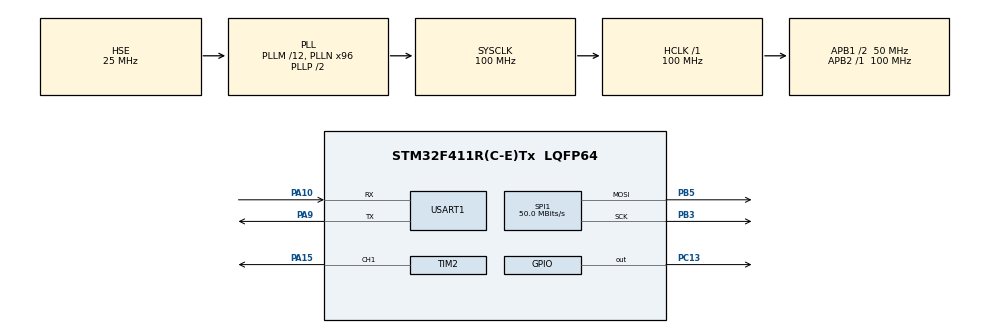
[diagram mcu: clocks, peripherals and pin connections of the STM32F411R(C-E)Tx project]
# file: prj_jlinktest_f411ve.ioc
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Dma.Request0=SPI1_TX
Dma.SPI1_TX.0.Direction=DMA_MEMORY_TO_PERIPH
Dma.SPI1_TX.0.FIFOMode=DMA_FIFOMODE_DISABLE
Dma.SPI1_TX.0.Instance=DMA2_Stream2
Dma.SPI1_TX.0.MemDataAlignment=DMA_MDATAALIGN_BYTE
Dma.SPI1_TX.0.MemInc=DMA_MINC_ENABLE
Dma.SPI1_TX.0.Mode=DMA_NORMAL
Dma.SPI1_TX.0.PeriphDataAlignment=DMA_PDATAALIGN_BYTE
Dma.SPI1_TX.0.PeriphInc=DMA_PINC_DISABLE
Dma.SPI1_TX.0.Priority=DMA_PRIORITY_LOW
FREERTOS.BinarySemaphores01=KeyBinarySem01,Dynamic,NULL,Available;BinarySem01,Dynamic,NULL,Available
FREERTOS.Mutexes01=Mutex01,Dynamic,NULL,Available
FREERTOS.Tasks01=defaultTask,24,128,StartDefaultTask,Default,NULL,Dynamic,NULL,NULL;key_task,9,128,KeyTaskFunc,As weak,NULL,Dynamic,NULL,NULL;Log_Task,9,128,LogTaskFunc,As weak,NULL,Dynamic,NULL,NULL;H_Task,10,128,Task_H_Func,Default,NULL,Dynamic,NULL,NULL;M_Task,9,128,Task_M_Func,Default,NULL,Dynamic,NULL,NULL;L_Task,8,128,Task_L_Func,Default,NULL,Dynamic,NULL,NULL
FREERTOS.Timers01=myTimer01,Callback01,osTimerPeriodic,Default,NULL,Dynamic,NULL
FREERTOS.configUSE_TICK_HOOK=1
Mcu.Family=STM32F4
Mcu.Name=STM32F411R(C-E)Tx
Mcu.Package=LQFP64
NVIC.DMA2_Stream2_IRQn=true\:5\:0\:false\:false\:true\:true\:false\:true\:true
NVIC.PriorityGroup=NVIC_PRIORITYGROUP_4
NVIC.TIM1_TRG_COM_TIM11_IRQn=true\:5\:0\:false\:false\:true\:true\:true\:true\:true
NVIC.TIM1_UP_TIM10_IRQn=true\:15\:0\:false\:false\:true\:false\:false\:true\:true
NVIC.TimeBase=TIM1_UP_TIM10_IRQn
NVIC.TimeBaseIP=TIM1
PA10.Mode=Asynchronous
PA10.Signal=USART1_RX
PA13.Mode=Serial_Wire
PA13.Signal=SYS_JTMS-SWDIO
PA14.Mode=Serial_Wire
PA14.Signal=SYS_JTCK-SWCLK
PA15.Signal=S_TIM2_CH1_ETR
PA9.Mode=Asynchronous
PA9.Signal=USART1_TX
PB3.Mode=TX_Only_Simplex_Unidirect_Master
PB3.Signal=SPI1_SCK
PB5.Mode=TX_Only_Simplex_Unidirect_Master
PB5.Signal=SPI1_MOSI
PC13-ANTI_TAMP.Signal=GPIO_Output
PC14-OSC32_IN.Mode=LSE-External-Oscillator
PC14-OSC32_IN.Signal=RCC_OSC32_IN
PC15-OSC32_OUT.Mode=LSE-External-Oscillator
PC15-OSC32_OUT.Signal=RCC_OSC32_OUT
PH0\ -\ OSC_IN.Mode=HSE-External-Oscillator
PH0\ -\ OSC_IN.Signal=RCC_OSC_IN
PH1\ -\ OSC_OUT.Mode=HSE-External-Oscillator
PH1\ -\ OSC_OUT.Signal=RCC_OSC_OUT
ProjectManager.HeapSize=0x200
ProjectManager.StackSize=0x400
ProjectManager.TargetToolchain=CMake
RCC.48MHZClocksFreq_Value=50000000
RCC.AHBFreq_Value=100000000
RCC.APB1CLKDivider=RCC_HCLK_DIV2
RCC.APB1Freq_Value=50000000
RCC.APB1TimFreq_Value=100000000
RCC.APB2Freq_Value=100000000
RCC.APB2TimFreq_Value=100000000
RCC.CortexFreq_Value=100000000
RCC.HCLKFreq_Value=100000000
RCC.HSE_VALUE=25000000
RCC.HSI_VALUE=16000000
RCC.PLLM=12
RCC.PLLN=96
RCC.PLLSourceVirtual=RCC_PLLSOURCE_HSE
RCC.SYSCLKFreq_VALUE=100000000
RCC.SYSCLKSource=RCC_SYSCLKSOURCE_PLLCLK
RCC.VCOOutputFreq_Value=200000000
SH.S_TIM2_CH1_ETR.0=TIM2_CH1,PWM Generation1 CH1
SPI1.CLKPhase=SPI_PHASE_2EDGE
SPI1.CLKPolarity=SPI_POLARITY_HIGH
SPI1.CalculateBaudRate=50.0 MBits/s
SPI1.Direction=SPI_DIRECTION_2LINES
SPI1.Mode=SPI_MODE_MASTER
SPI1.VirtualType=VM_MASTER
TIM11.Period=1000-1
TIM11.Prescaler=100-1
TIM2.Channel-PWM\ Generation1\ CH1=TIM_CHANNEL_1
TIM2.Period=300
TIM2.Prescaler=100-1
USART1.VirtualMode=VM_ASYNC
VP_FREERTOS_VS_CMSIS_V2.Mode=CMSIS_V2
VP_SYS_VS_tim1.Mode=TIM1
VP_TIM11_VS_ClockSourceINT.Mode=Enable_Timer
board=custom

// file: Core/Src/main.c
/* USER CODE BEGIN Header */
/**
  ******************************************************************************
  * @file           : main.c
  * @brief          : Main program body
  ******************************************************************************
  * @attention
  *
  * Copyright (c) 2026 STMicroelectronics.
  * All rights reserved.
  *
  * This software is licensed under terms that can be found in the LICENSE file
  * in the root directory of this software component.
  * If no LICENSE file comes with this software, it is provided AS-IS.
  *
  ******************************************************************************
  */
/* USER CODE END Header */
#include "main.h"
#include "cmsis_os.h"
#include "dma.h"
#include "spi.h"
#include "tim.h"
#include "usart.h"
#include "gpio.h"

void SystemClock_Config(void);
void MX_FREERTOS_Init(void);

/* USER CODE BEGIN 0 */
#include "stdio.h"
#include "test.h"
#include "delay.h"

// ===================== 按键驱动相关头文件 =======================
#include "key.h"

// ===================== LCD驱动相关头文件 =======================
#include "lcd_init.h"
#include "lcd.h"
#include "cst816.h"

// ===================== LVGL驱动相关头文件 =======================
// #include "lvgl.h"
// #include "lv_port_disp.h"
// #include "lv_port_indev.h"

// ===================== 自定义图形驱动相关头文件 =======================
// #include "gui_guider.h"           // Gui Guider 生成的界面和控件的声明
// #include "events_init.h"          // Gui Guider 生成的初始化事件、回调函数
// lv_ui  guider_ui;                     // 声明 界面对象

void LCD_ColorCycleDemo(void);

/* USER CODE END 0 */

int main(void)
{

  /* MCU Configuration--------------------------------------------------------*/

  /* Reset of all peripherals, Initializes the Flash interface and the Systick. */
  HAL_Init();

  /* Configure the system clock */
  SystemClock_Config();

  /* Initialize all configured peripherals */
  MX_GPIO_Init();
  MX_DMA_Init();
  MX_USART1_UART_Init();
  MX_SPI1_Init();
  MX_TIM2_Init();
  MX_TIM11_Init();
  /* USER CODE BEGIN 2 */
  // ===================== 按键 初始化 =======================
  Key_Port_Init();
  // ===================== LCD屏幕 初始化 =======================
  delay_init();
  LCD_Init();
  LCD_Set_Light(100); // 亮度拉到最满
  LCD_Open_Light();   // 启动背光 PWM

  CST816_Init();    //触摸屏

  // ===================== LVGL 初始化 =======================

  // lv_init();          // LVGL 初始化
  // lv_port_disp_init(); // LVGL 显示驱动初始化
  // lv_port_indev_init(); // LVGL 输入设备驱动初始化
  // HAL_TIM_Base_Start_IT(&htim11); // 启动 LVGL 定时器中断

  // ===================== 自定义图形 初始化 =======================
  // setup_ui(&guider_ui); // Gui Guider 生成的界面和控件的初始化
  // events_init(&guider_ui); // Gui Guider 生成的事件、回调函数的初始化
  /* USER CODE END 2 */

  /* Init scheduler */
  osKernelInitialize();  /* Call init function for freertos objects (in cmsis_os2.c) */
  MX_FREERTOS_Init();

  /* Start scheduler */
  osKernelStart();

  /* We should never get here as control is now taken by the scheduler */

  /* Infinite loop */
  /* USER CODE BEGIN WHILE */
  while (1)
  {
    //LCD_ColorCycleDemo();
    // ===================== 图形化 任务 =======================
    // HAL_Delay(1-1);

    // static uint8_t msLVGL = 0;
    // if(msLVGL++ >= 5) { // 每 5ms 调用一次 lv_task_handler，处理 LVGL 的任务
    //     msLVGL = 0;
    //     lv_task_handler();
    // }
    // ===================== 图形化 任务 =======================
    /* USER CODE END WHILE */

  }
}

void SystemClock_Config(void)
{
  RCC_OscInitTypeDef RCC_OscInitStruct = {0};
  RCC_ClkInitTypeDef RCC_ClkInitStruct = {0};

  /** Configure the main internal regulator output voltage
  */
  __HAL_RCC_PWR_CLK_ENABLE();
  __HAL_PWR_VOLTAGESCALING_CONFIG(PWR_REGULATOR_VOLTAGE_SCALE1);

  /** Initializes the RCC Oscillators according to the specified parameters
  * in the RCC_OscInitTypeDef structure.
  */
  RCC_OscInitStruct.OscillatorType = RCC_OSCILLATORTYPE_HSE;
  RCC_OscInitStruct.HSEState = RCC_HSE_ON;
  RCC_OscInitStruct.PLL.PLLState = RCC_PLL_ON;
  RCC_OscInitStruct.PLL.PLLSource = RCC_PLLSOURCE_HSE;
  RCC_OscInitStruct.PLL.PLLM = 12;
  RCC_OscInitStruct.PLL.PLLN = 96;
  RCC_OscInitStruct.PLL.PLLP = RCC_PLLP_DIV2;
  RCC_OscInitStruct.PLL.PLLQ = 4;
  if (HAL_RCC_OscConfig(&RCC_OscInitStruct) != HAL_OK)
  {
    Error_Handler();
  }

  /** Initializes the CPU, AHB and APB buses clocks
  */
  RCC_ClkInitStruct.ClockType = RCC_CLOCKTYPE_HCLK|RCC_CLOCKTYPE_SYSCLK
                              |RCC_CLOCKTYPE_PCLK1|RCC_CLOCKTYPE_PCLK2;
  RCC_ClkInitStruct.SYSCLKSource = RCC_SYSCLKSOURCE_PLLCLK;
  RCC_ClkInitStruct.AHBCLKDivider = RCC_SYSCLK_DIV1;
  RCC_ClkInitStruct.APB1CLKDivider = RCC_HCLK_DIV2;
  RCC_ClkInitStruct.APB2CLKDivider = RCC_HCLK_DIV1;

  if (HAL_RCC_ClockConfig(&RCC_ClkInitStruct, FLASH_LATENCY_3) != HAL_OK)
  {
    Error_Handler();
  }
}

/* USER CODE BEGIN 4 */

#ifdef __GNUC__
#define PUTCHAR_PROTOTYPE int __io_putchar(int ch)
#else
#define PUTCHAR_PROTOTYPE int fputc(int ch, FILE *f)
#endif

PUTCHAR_PROTOTYPE
{
	//HAL_UART_Transmit(&huart1,(uint8_t*)&ch,1,1000);

	while((huart1.Instance->SR & USART_SR_TXE) ==0);
	huart1.Instance->DR = *(uint8_t*)&ch;
	return ch;
}

// 简单纯色区域填充（使用 LCD_Color_Fill）
static void LCD_ColorFillSolid(uint16_t xsta, uint16_t ysta, uint16_t xend, uint16_t yend, uint16_t color)
{
    static uint16_t line_buf[LCD_W];
    uint16_t width = xend - xsta + 1;

    for (uint16_t i = 0; i < width; i++)
    {
        line_buf[i] = color;
    }

    for (uint16_t row = ysta; row <= yend; row++)
    {
        LCD_Color_Fill(xsta, row, xend, row, line_buf);
        while (hspi1.State != HAL_SPI_STATE_READY)
        {
        }
    }

}

// 简单颜色切换演示
void LCD_ColorCycleDemo(void)
{
    const uint16_t colors[] = {RED, GREEN, BLUE, YELLOW, CYAN, MAGENTA, WHITE, BLACK};
    const char *names[] = {"RED", "GREEN", "BLUE", "YELLOW", "CYAN", "MAGENTA", "WHITE", "BLACK"};

    for (int i = 0; i < 8; i++)
    {
        uint16_t bg = colors[i];
        uint16_t fc = (bg == BLACK) ? WHITE : BLACK; // 黑底白字，其它底黑字
        LCD_ColorFillSolid(0, 0, LCD_W - 1, LCD_H - 1, bg);

        LCD_ShowString(60, 100, (uint8_t *)names[i], fc, bg, 24, 0);
        HAL_Delay(800);

    }
}

uint16_t time_tick = 0;
/* USER CODE END 4 */

void HAL_TIM_PeriodElapsedCallback(TIM_HandleTypeDef *htim)
{
  if (htim->Instance == TIM1)
  {
    HAL_IncTick();
  }
}

void Error_Handler(void)
{
  __disable_irq();
  while (1)
  {
  }
}

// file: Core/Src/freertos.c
/* USER CODE BEGIN Header */
/**
  ******************************************************************************
  * File Name          : freertos.c
  * Description        : Code for freertos applications
  ******************************************************************************
  * @attention
  *
  * Copyright (c) 2026 STMicroelectronics.
  * All rights reserved.
  *
  * This software is licensed under terms that can be found in the LICENSE file
  * in the root directory of this software component.
  * If no LICENSE file comes with this software, it is provided AS-IS.
  *
  ******************************************************************************
  */
/* USER CODE END Header */

#include "FreeRTOS.h"

#include "task.h"
#include "main.h"
#include "cmsis_os.h"

/* USER CODE BEGIN Includes */
#include "stdio.h"
/* USER CODE END Includes */

/* Definitions for defaultTask */
osThreadId_t defaultTaskHandle;
const osThreadAttr_t defaultTask_attributes = {
  .name = "defaultTask",
  .stack_size = 128 * 4,
  .priority = (osPriority_t) osPriorityNormal,
};
/* Definitions for key_task */
osThreadId_t key_taskHandle;
const osThreadAttr_t key_task_attributes = {
  .name = "key_task",
  .stack_size = 128 * 4,
  .priority = (osPriority_t) osPriorityLow1,
};
/* Definitions for Log_Task */
osThreadId_t Log_TaskHandle;
const osThreadAttr_t Log_Task_attributes = {
  .name = "Log_Task",
  .stack_size = 128 * 4,
  .priority = (osPriority_t) osPriorityLow1,
};
/* Definitions for H_Task */
osThreadId_t H_TaskHandle;
const osThreadAttr_t H_Task_attributes = {
  .name = "H_Task",
  .stack_size = 128 * 4,
  .priority = (osPriority_t) osPriorityLow2,
};
/* Definitions for M_Task */
osThreadId_t M_TaskHandle;
const osThreadAttr_t M_Task_attributes = {
  .name = "M_Task",
  .stack_size = 128 * 4,
  .priority = (osPriority_t) osPriorityLow1,
};
/* Definitions for L_Task */
osThreadId_t L_TaskHandle;
const osThreadAttr_t L_Task_attributes = {
  .name = "L_Task",
  .stack_size = 128 * 4,
  .priority = (osPriority_t) osPriorityLow,
};
/* Definitions for myTimer01 */
osTimerId_t myTimer01Handle;
const osTimerAttr_t myTimer01_attributes = {
  .name = "myTimer01"
};
/* Definitions for Mutex01 */
osMutexId_t Mutex01Handle;
const osMutexAttr_t Mutex01_attributes = {
  .name = "Mutex01"
};
/* Definitions for KeyBinarySem01 */
osSemaphoreId_t KeyBinarySem01Handle;
const osSemaphoreAttr_t KeyBinarySem01_attributes = {
  .name = "KeyBinarySem01"
};
/* Definitions for BinarySem01 */
osSemaphoreId_t BinarySem01Handle;
const osSemaphoreAttr_t BinarySem01_attributes = {
  .name = "BinarySem01"
};

void StartDefaultTask(void *argument);
void KeyTaskFunc(void *argument);
void LogTaskFunc(void *argument);
void Task_H_Func(void *argument);
void Task_M_Func(void *argument);
void Task_L_Func(void *argument);
void Callback01(void *argument);

void MX_FREERTOS_Init(void); /* (MISRA C 2004 rule 8.1) */

/* Hook prototypes */
void vApplicationTickHook(void);

/* USER CODE BEGIN 3 */
void vApplicationTickHook( void )
{
// 你的代码
  static uint16_t timecount=0;
	timecount += 1;
	if(timecount>500)
	{
		timecount = 0;
		HAL_GPIO_TogglePin(GPIOC, GPIO_PIN_13);
	}
}
/* USER CODE END 3 */

void MX_FREERTOS_Init(void) {
  /* Create the mutex(es) */
  /* creation of Mutex01 */
  Mutex01Handle = osMutexNew(&Mutex01_attributes);

  /* Create the semaphores(s) */
  /* creation of KeyBinarySem01 */
  KeyBinarySem01Handle = osSemaphoreNew(1, 1, &KeyBinarySem01_attributes);

  /* creation of BinarySem01 */
  BinarySem01Handle = osSemaphoreNew(1, 1, &BinarySem01_attributes);

  /* Create the timer(s) */
  /* creation of myTimer01 */
  myTimer01Handle = osTimerNew(Callback01, osTimerPeriodic, NULL, &myTimer01_attributes);

  /* Create the thread(s) */
  /* creation of defaultTask */
  // defaultTaskHandle = osThreadNew(StartDefaultTask, NULL, &defaultTask_attributes);

  // /* creation of key_task */
  // key_taskHandle = osThreadNew(KeyTaskFunc, NULL, &key_task_attributes);

  // /* creation of Log_Task */
  // Log_TaskHandle = osThreadNew(LogTaskFunc, NULL, &Log_Task_attributes);

  // /* creation of H_Task */
  // H_TaskHandle = osThreadNew(Task_H_Func, NULL, &H_Task_attributes);

  // /* creation of M_Task */
  // M_TaskHandle = osThreadNew(Task_M_Func, NULL, &M_Task_attributes);

  // /* creation of L_Task */
  // L_TaskHandle = osThreadNew(Task_L_Func, NULL, &L_Task_attributes);

  /* USER CODE BEGIN RTOS_EVENTS */
  osTimerStart(myTimer01Handle,500);  //启动软件定时器，分配时间
  /* add events, ... */
  /* USER CODE END RTOS_EVENTS */

}

void StartDefaultTask(void *argument)
{
  /* USER CODE BEGIN StartDefaultTask */
  /* Infinite loop */
  for(;;)
  {
    //HAL_GPIO_TogglePin(GPIOC, GPIO_PIN_13);
    osDelay(1);
  }
  /* USER CODE END StartDefaultTask */
}

__weak void KeyTaskFunc(void *argument)
{
  for(;;)
  {
    osDelay(1);
  }
}

__weak void LogTaskFunc(void *argument)
{
  for(;;)
  {
    osDelay(1);
  }
}

void Task_H_Func(void *argument)
{
  /* USER CODE BEGIN Task_H_Func */
  /* Infinite loop */
  for(;;)
  {
    //osSemaphoreAcquire(BinarySem01Handle, osWaitForever);
    osMutexAcquire(Mutex01Handle, osWaitForever);
    printf("High Task get mutex, start\r\n");
    HAL_Delay(1000);
    printf("High Task give mutex, end\r\n");
    //osSemaphoreRelease(BinarySem01Handle);
    osMutexRelease(Mutex01Handle);
    osDelay(1000);
  }
  /* USER CODE END Task_H_Func */
}

void Task_M_Func(void *argument)
{
  /* USER CODE BEGIN Task_M_Func */
  /* Infinite loop */
  for(;;)
  {
    printf("Middle Task use cpu, but do nothing\r\n");
    osDelay(1000);
  }
  /* USER CODE END Task_M_Func */
}

void Task_L_Func(void *argument)
{
  /* USER CODE BEGIN Task_L_Func */
  /* Infinite loop */
  for(;;)
  {
    //osSemaphoreAcquire(BinarySem01Handle, osWaitForever);
    osMutexAcquire(Mutex01Handle, osWaitForever);
    printf("Low Task get mutex, start\r\n");
    //HAL_Delay(5000);
    HAL_Delay(3000);
    printf("Low Task give mutex, end\r\n");
    //osSemaphoreRelease(BinarySem01Handle);
    osMutexRelease(Mutex01Handle);
    osDelay(1000);
  }
  /* USER CODE END Task_L_Func */
}

/* Callback01 function */
void Callback01(void *argument)
{
  /* USER CODE BEGIN Callback01 */
  printf("software timer run\r\n");
  /* USER CODE END Callback01 */
}
